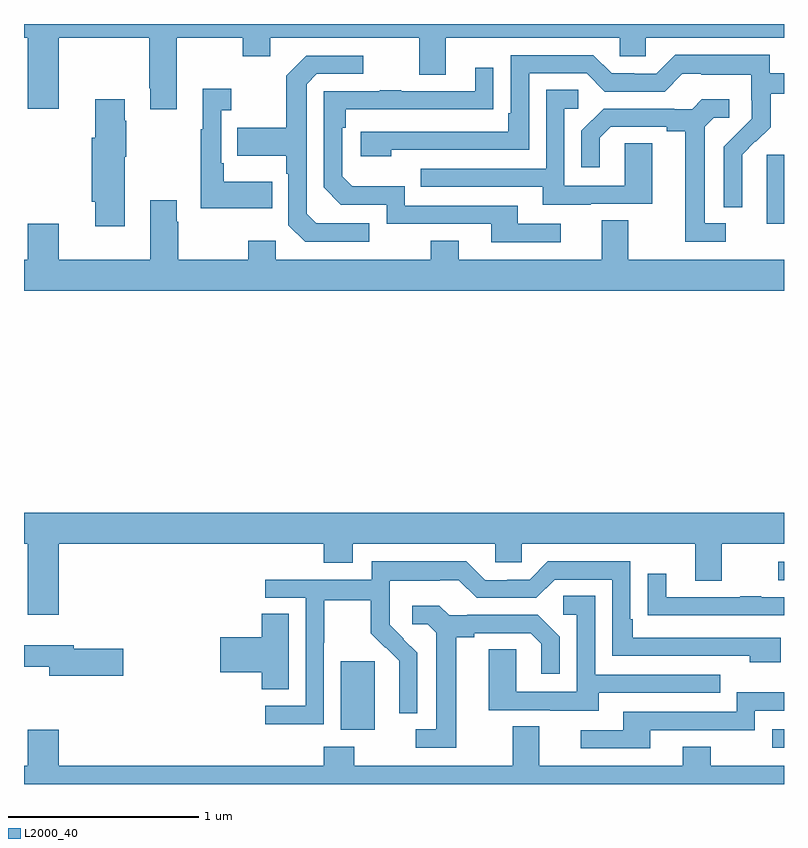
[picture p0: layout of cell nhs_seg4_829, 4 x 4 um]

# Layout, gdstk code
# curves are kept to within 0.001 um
import gdstk
lib = gdstk.Library(unit=1e-6, precision=1e-09)
def R(c, l, rs):  # rectangles x0, y0, x1, y1
    for r in rs: c.add(gdstk.rectangle(r[:2], r[2:], *l))
def P(c, l, *ps):  # polygons
    for p in ps: c.add(gdstk.Polygon(p, *l))
L2000_40 = (2000, 40)

nhs_seg4_829 = lib.new_cell('nhs_seg4_829')
R(nhs_seg4_829, L2000_40, [(156.939,785.091,157,785.187), (154.667,785.186,154.846,785.547), (156.969,785.973,157,786.069), (156.908,787.85,157,788.211)])
P(nhs_seg4_829, L2000_40, [(153,788.828),(153.02,788.828),(153.02,788.454),(153.184,788.454),(153.184,788.828),(153.658,788.828),(153.658,788.563),(153.665,788.563),(153.665,788.451),(153.805,788.451),(153.805,788.828),(154.15,788.828),(154.15,788.729),(154.297,788.729),(154.297,788.828),(155.081,788.828),(155.081,788.634),(155.221,788.634),(155.221,788.828),(156.135,788.828),(156.135,788.73),(156.273,788.73),(156.273,788.828),(157,788.828),(157,788.9),(153,788.9)],
  [(156.78,788.09),(156.779,788.213),(156.849,788.283),(156.852,788.28),(156.929,788.357),(156.929,788.532),(157,788.532),(157,788.64),(156.924,788.64),(156.924,788.737),(156.427,788.737),(156.327,788.637),(156.212,788.637),(156.212,788.64),(156.093,788.64),(155.997,788.736),(155.562,788.736),(155.562,788.431),(155.549,788.431),(155.549,788.334),(154.773,788.334),(154.773,788.204),(154.934,788.204),(154.934,788.238),(155.658,788.238),(155.658,788.64),(155.961,788.64),(156.057,788.544),(156.372,788.544),(156.465,788.637),(156.565,788.637),(156.565,788.633),(156.828,788.633),(156.828,788.499),(156.83,788.499),(156.83,788.402),(156.684,788.254),(156.684,787.936),(156.78,787.936)],
  [(154.816,787.851),(154.539,787.851),(154.488,787.902),(154.488,788.583),(154.542,788.637),(154.786,788.637),(154.786,788.733),(154.485,788.733),(154.38,788.627),(154.38,788.355),(154.123,788.355),(154.123,788.207),(154.38,788.207),(154.38,788.111),(154.392,788.111),(154.392,787.842),(154.479,787.755),(154.816,787.755)],
  [(155.824,787.848),(155.599,787.848),(155.599,787.944),(155.004,787.944),(155.004,788.047),(154.727,788.047),(154.674,788.1),(154.674,788.354),(154.694,788.354),(154.694,788.451),(155.471,788.452),(155.471,788.671),(155.375,788.671),(155.375,788.547),(154.985,788.547),(154.985,788.552),(154.873,788.552),(154.873,788.547),(154.578,788.547),(154.578,788.04),(154.668,787.95),(154.908,787.95),(154.908,787.848),(155.459,787.848),(155.459,787.752),(155.824,787.752)],
  [(154.307,788.071),(154.051,788.071),(154.051,788.167),(154.038,788.167),(154.038,788.447),(154.09,788.447),(154.09,788.56),(153.941,788.56),(153.941,788.347),(153.93,788.347),(153.93,787.931),(154.307,787.931)],
  [(155.983,787.953),(156.307,787.953),(156.307,788.273),(156.162,788.273),(156.162,788.049),(155.844,788.049),(155.844,788.454),(155.917,788.454),(155.917,788.555),(155.748,788.555),(155.748,788.139),(155.089,788.139),(155.089,788.043),(155.729,788.043),(155.729,787.949),(155.983,787.949)],
  [(156.694,787.851),(156.583,787.851),(156.583,788.359),(156.63,788.406),(156.712,788.406),(156.712,788.503),(156.568,788.503),(156.516,788.451),(156.422,788.451),(156.422,788.454),(156.05,788.454),(155.934,788.338),(155.934,788.145),(156.031,788.145),(156.031,788.301),(156.088,788.358),(156.383,788.358),(156.383,788.336),(156.479,788.336),(156.479,787.755),(156.694,787.755)],
  [(153.529,788.201),(153.537,788.201),(153.537,788.39),(153.529,788.39),(153.529,788.503),(153.374,788.503),(153.374,788.301),(153.356,788.301),(153.356,787.965),(153.374,787.965),(153.374,787.836),(153.529,787.836)],
  [(157,787.66),(156.181,787.66),(156.181,787.868),(156.041,787.868),(156.041,787.66),(155.287,787.66),(155.287,787.759),(155.14,787.759),(155.14,787.66),(154.326,787.66),(154.326,787.759),(154.18,787.759),(154.18,787.66),(153.813,787.66),(153.813,787.859),(153.805,787.859),(153.805,787.972),(153.665,787.972),(153.665,787.66),(153.184,787.66),(153.184,787.849),(153.02,787.849),(153.02,787.66),(153,787.66),(153,787.496),(157,787.496)],
  [(153.184,786.164),(154.577,786.164),(154.577,786.065),(154.729,786.065),(154.729,786.164),(155.481,786.164),(155.481,786.066),(155.619,786.066),(155.619,786.164),(156.533,786.164),(156.533,785.97),(156.673,785.97),(156.673,786.164),(157,786.164),(157,786.328),(153,786.328),(153,786.164),(153.02,786.164),(153.02,785.79),(153.184,785.79)],
  [(154.578,785.644),(154.581,785.644),(154.581,785.868),(154.825,785.868),(154.825,785.693),(154.902,785.616),(154.905,785.619),(154.976,785.549),(154.976,785.426),(154.974,785.426),(154.974,785.272),(155.07,785.272),(155.07,785.59),(154.924,785.738),(154.924,785.835),(154.926,785.835),(154.926,785.969),(155.189,785.969),(155.189,785.973),(155.289,785.973),(155.382,785.88),(155.697,785.88),(155.793,785.976),(156.096,785.976),(156.096,785.574),(156.821,785.574),(156.821,785.54),(156.982,785.54),(156.982,785.67),(156.205,785.67),(156.205,785.767),(156.192,785.767),(156.192,786.072),(155.757,786.072),(155.661,785.976),(155.543,785.976),(155.543,785.973),(155.427,785.973),(155.327,786.073),(154.83,786.073),(154.83,785.976),(154.269,785.976),(154.269,785.88),(154.482,785.88),(154.482,785.313),(154.269,785.313),(154.269,785.215),(154.578,785.215)],
  [(157,785.883),(156.881,785.883),(156.881,785.888),(156.769,785.888),(156.769,785.883),(156.379,785.883),(156.379,786.007),(156.283,786.007),(156.283,785.788),(156.385,785.788),(156.385,785.787),(157,785.787)],
  [(156.025,785.379),(156.665,785.379),(156.665,785.475),(156.006,785.475),(156.006,785.891),(155.838,785.891),(155.838,785.79),(155.91,785.79),(155.91,785.385),(155.592,785.385),(155.592,785.609),(155.447,785.609),(155.447,785.289),(155.771,785.289),(155.771,785.285),(156.025,785.285)],
  [(155.275,785.672),(155.371,785.672),(155.371,785.694),(155.666,785.694),(155.723,785.637),(155.723,785.481),(155.82,785.481),(155.82,785.674),(155.704,785.79),(155.332,785.79),(155.332,785.787),(155.238,785.787),(155.186,785.839),(155.043,785.839),(155.043,785.742),(155.124,785.742),(155.171,785.695),(155.171,785.187),(155.061,785.187),(155.061,785.091),(155.275,785.091)],
  [(154.393,785.795),(154.25,785.795),(154.25,785.672),(154.032,785.672),(154.032,785.489),(154.25,785.489),(154.25,785.398),(154.393,785.398)],
  [(153.523,785.612),(153.262,785.612),(153.262,785.629),(153,785.629),(153,785.516),(153.134,785.516),(153.134,785.47),(153.523,785.47)],
  [(156.295,785.184),(156.846,785.184),(156.846,785.286),(157,785.286),(157,785.383),(156.75,785.383),(156.75,785.28),(156.155,785.28),(156.155,785.184),(155.931,785.184),(155.931,785.088),(156.295,785.088)],
  [(157,784.996),(156.615,784.996),(156.615,785.095),(156.467,785.095),(156.467,784.996),(155.713,784.996),(155.713,785.204),(155.573,785.204),(155.573,784.996),(154.737,784.996),(154.737,785.095),(154.577,785.095),(154.577,784.996),(153.184,784.996),(153.184,785.185),(153.02,785.185),(153.02,784.996),(153,784.996),(153,784.9),(157,784.9)])

lib.write_gds('nhs_seg4_829.gds')
